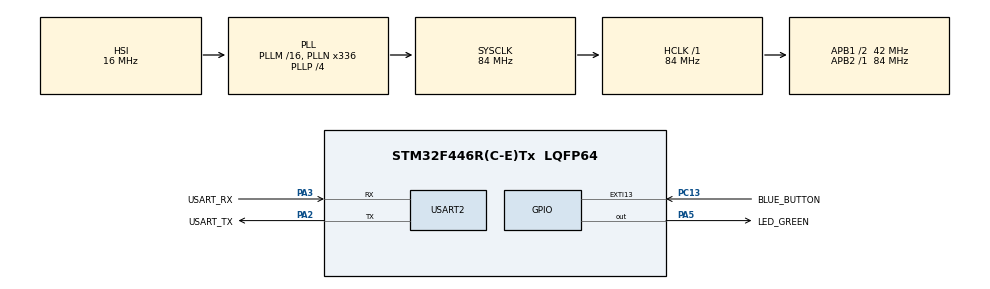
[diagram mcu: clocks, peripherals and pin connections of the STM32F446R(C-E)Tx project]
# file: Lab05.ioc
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FREERTOS.Queues01=abcQueue01,16,uint16_t,0,Dynamic,NULL,NULL
FREERTOS.Tasks01=ProducerTask,24,256,StartProducerTask,Default,NULL,Dynamic,NULL,NULL;ConsumerTask,24,128,StartConsumerTask,Default,NULL,Dynamic,NULL,NULL;LedTask,24,128,StartLedTask,Default,NULL,Dynamic,NULL,NULL
FREERTOS.Timers01=myTimer01,Callback01,osTimerPeriodic,Default,NULL,Dynamic,NULL
FREERTOS.configUSE_NEWLIB_REENTRANT=1
Mcu.Family=STM32F4
Mcu.Name=STM32F446R(C-E)Tx
Mcu.Package=LQFP64
NVIC.EXTI15_10_IRQn=true\:5\:0\:false\:false\:true\:true\:true\:true\:true
NVIC.PriorityGroup=NVIC_PRIORITYGROUP_4
NVIC.TIM5_IRQn=true\:15\:0\:false\:false\:true\:false\:false\:true\:true
NVIC.TimeBase=TIM5_IRQn
NVIC.TimeBaseIP=TIM5
PA13.GPIO_Label=SYS_JTMS-SWDIO
PA13.Mode=Trace_Asynchronous_SW
PA13.Signal=SYS_JTMS-SWDIO
PA14.GPIO_Label=SYS_JTCK-SWCLK
PA14.Mode=Trace_Asynchronous_SW
PA14.Signal=SYS_JTCK-SWCLK
PA2.GPIO_Label=USART_TX
PA2.Mode=Asynchronous
PA2.Signal=USART2_TX
PA3.GPIO_Label=USART_RX
PA3.Mode=Asynchronous
PA3.Signal=USART2_RX
PA5.GPIO_Label=LED_GREEN
PA5.Signal=GPIO_Output
PB3.GPIO_Label=SYS_JTDO-SWO
PB3.Mode=Trace_Asynchronous_SW
PB3.Signal=SYS_JTDO-SWO
PC13.GPIO_Label=BLUE_BUTTON
PC13.GPIO_ModeDefaultEXTI=GPIO_MODE_IT_FALLING
PC13.Signal=GPXTI13
ProjectManager.HeapSize=0x200
ProjectManager.StackSize=0x400
ProjectManager.TargetToolchain=STM32CubeIDE
RCC.48MHZClocksFreq_Value=84000000
RCC.AHBFreq_Value=84000000
RCC.APB1CLKDivider=RCC_HCLK_DIV2
RCC.APB1Freq_Value=42000000
RCC.APB1TimFreq_Value=84000000
RCC.APB2Freq_Value=84000000
RCC.APB2TimFreq_Value=84000000
RCC.CortexFreq_Value=84000000
RCC.FLatency-AdvancedSettings=FLASH_LATENCY_2
RCC.HCLKFreq_Value=84000000
RCC.HSE_VALUE=8000000
RCC.HSI_VALUE=16000000
RCC.PLLN=336
RCC.PLLP=RCC_PLLP_DIV4
RCC.SYSCLKFreq_VALUE=84000000
RCC.SYSCLKSource=RCC_SYSCLKSOURCE_PLLCLK
RCC.USBFreq_Value=168000000
RCC.VCOOutputFreq_Value=336000000
USART2.VirtualMode=VM_ASYNC
VP_FREERTOS_VS_CMSIS_V2.Mode=CMSIS_V2
VP_SYS_VS_tim5.Mode=TIM5
board=NUCLEO-F446RE

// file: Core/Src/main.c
/* USER CODE BEGIN Header */
/**
  ******************************************************************************
  * @file           : main.c
  * @brief          : Main program body
  ******************************************************************************
  * @attention
  *
  * Copyright (c) 2025 STMicroelectronics.
  * All rights reserved.
  *
  * This software is licensed under terms that can be found in the LICENSE file
  * in the root directory of this software component.
  * If no LICENSE file comes with this software, it is provided AS-IS.
  *
  ******************************************************************************
  */
/* USER CODE END Header */
#include "main.h"
#include "cmsis_os.h"

/* USER CODE BEGIN Includes */
#include <stdio.h>
/* USER CODE END Includes */

UART_HandleTypeDef huart2;

/* Definitions for ProducerTask */
osThreadId_t ProducerTaskHandle;
const osThreadAttr_t ProducerTask_attributes = {
  .name = "ProducerTask",
  .stack_size = 256 * 4,
  .priority = (osPriority_t) osPriorityNormal,
};
/* Definitions for ConsumerTask */
osThreadId_t ConsumerTaskHandle;
const osThreadAttr_t ConsumerTask_attributes = {
  .name = "ConsumerTask",
  .stack_size = 128 * 4,
  .priority = (osPriority_t) osPriorityNormal,
};
/* Definitions for LedTask */
osThreadId_t LedTaskHandle;
const osThreadAttr_t LedTask_attributes = {
  .name = "LedTask",
  .stack_size = 128 * 4,
  .priority = (osPriority_t) osPriorityNormal,
};
/* Definitions for abcQueue01 */
osMessageQueueId_t abcQueue01Handle;
const osMessageQueueAttr_t abcQueue01_attributes = {
  .name = "abcQueue01"
};
/* Definitions for myTimer01 */
osTimerId_t myTimer01Handle;
const osTimerAttr_t myTimer01_attributes = {
  .name = "myTimer01"
};
/* USER CODE BEGIN PV */
osEventFlagsId_t myEventFlags;
/* USER CODE END PV */

void SystemClock_Config(void);
static void MX_GPIO_Init(void);
static void MX_USART2_UART_Init(void);
void StartProducerTask(void *argument);
void StartConsumerTask(void *argument);
void StartLedTask(void *argument);
void Callback01(void *argument);

/* USER CODE BEGIN 0 */
int __io_putchar(int chr)
{
	ITM_SendChar(chr);
	return 1;
}
/* USER CODE END 0 */

int main(void)
{

  /* MCU Configuration--------------------------------------------------------*/

  /* Reset of all peripherals, Initializes the Flash interface and the Systick. */
  HAL_Init();

  /* Configure the system clock */
  SystemClock_Config();

  /* Initialize all configured peripherals */
  MX_GPIO_Init();
  MX_USART2_UART_Init();

  /* Init scheduler */
  osKernelInitialize();

  /* Create the timer(s) */
  /* creation of myTimer01 */
  myTimer01Handle = osTimerNew(Callback01, osTimerPeriodic, NULL, &myTimer01_attributes);

  /* Create the queue(s) */
  /* creation of abcQueue01 */
  abcQueue01Handle = osMessageQueueNew (16, sizeof(uint16_t), &abcQueue01_attributes);

  /* Create the thread(s) */
  /* creation of ProducerTask */
  ProducerTaskHandle = osThreadNew(StartProducerTask, NULL, &ProducerTask_attributes);

  /* creation of ConsumerTask */
  ConsumerTaskHandle = osThreadNew(StartConsumerTask, NULL, &ConsumerTask_attributes);

  /* creation of LedTask */
  LedTaskHandle = osThreadNew(StartLedTask, NULL, &LedTask_attributes);

  /* USER CODE BEGIN RTOS_THREADS */
  /* add threads, ... */
  myEventFlags = osEventFlagsNew(NULL);
  /* USER CODE END RTOS_THREADS */

  /* Start scheduler */
  osKernelStart();

  /* We should never get here as control is now taken by the scheduler */

  /* Infinite loop */
  while (1)
  {

  }
}

void SystemClock_Config(void)
{
  RCC_OscInitTypeDef RCC_OscInitStruct = {0};
  RCC_ClkInitTypeDef RCC_ClkInitStruct = {0};

  /** Configure the main internal regulator output voltage
  */
  __HAL_RCC_PWR_CLK_ENABLE();
  __HAL_PWR_VOLTAGESCALING_CONFIG(PWR_REGULATOR_VOLTAGE_SCALE3);

  /** Initializes the RCC Oscillators according to the specified parameters
  * in the RCC_OscInitTypeDef structure.
  */
  RCC_OscInitStruct.OscillatorType = RCC_OSCILLATORTYPE_HSI;
  RCC_OscInitStruct.HSIState = RCC_HSI_ON;
  RCC_OscInitStruct.HSICalibrationValue = RCC_HSICALIBRATION_DEFAULT;
  RCC_OscInitStruct.PLL.PLLState = RCC_PLL_ON;
  RCC_OscInitStruct.PLL.PLLSource = RCC_PLLSOURCE_HSI;
  RCC_OscInitStruct.PLL.PLLM = 16;
  RCC_OscInitStruct.PLL.PLLN = 336;
  RCC_OscInitStruct.PLL.PLLP = RCC_PLLP_DIV4;
  RCC_OscInitStruct.PLL.PLLQ = 2;
  RCC_OscInitStruct.PLL.PLLR = 2;
  if (HAL_RCC_OscConfig(&RCC_OscInitStruct) != HAL_OK)
  {
    Error_Handler();
  }

  /** Initializes the CPU, AHB and APB buses clocks
  */
  RCC_ClkInitStruct.ClockType = RCC_CLOCKTYPE_HCLK|RCC_CLOCKTYPE_SYSCLK
                              |RCC_CLOCKTYPE_PCLK1|RCC_CLOCKTYPE_PCLK2;
  RCC_ClkInitStruct.SYSCLKSource = RCC_SYSCLKSOURCE_PLLCLK;
  RCC_ClkInitStruct.AHBCLKDivider = RCC_SYSCLK_DIV1;
  RCC_ClkInitStruct.APB1CLKDivider = RCC_HCLK_DIV2;
  RCC_ClkInitStruct.APB2CLKDivider = RCC_HCLK_DIV1;

  if (HAL_RCC_ClockConfig(&RCC_ClkInitStruct, FLASH_LATENCY_2) != HAL_OK)
  {
    Error_Handler();
  }
}

static void MX_USART2_UART_Init(void)
{

  huart2.Instance = USART2;
  huart2.Init.BaudRate = 115200;
  huart2.Init.WordLength = UART_WORDLENGTH_8B;
  huart2.Init.StopBits = UART_STOPBITS_1;
  huart2.Init.Parity = UART_PARITY_NONE;
  huart2.Init.Mode = UART_MODE_TX_RX;
  huart2.Init.HwFlowCtl = UART_HWCONTROL_NONE;
  huart2.Init.OverSampling = UART_OVERSAMPLING_16;
  if (HAL_UART_Init(&huart2) != HAL_OK)
  {
    Error_Handler();
  }

}

static void MX_GPIO_Init(void)
{
  GPIO_InitTypeDef GPIO_InitStruct = {0};

  /* GPIO Ports Clock Enable */
  __HAL_RCC_GPIOC_CLK_ENABLE();
  __HAL_RCC_GPIOA_CLK_ENABLE();
  __HAL_RCC_GPIOB_CLK_ENABLE();

  /*Configure GPIO pin Output Level */
  HAL_GPIO_WritePin(LED_GREEN_GPIO_Port, LED_GREEN_Pin, GPIO_PIN_RESET);

  /*Configure GPIO pin : BLUE_BUTTON_Pin */
  GPIO_InitStruct.Pin = BLUE_BUTTON_Pin;
  GPIO_InitStruct.Mode = GPIO_MODE_IT_FALLING;
  GPIO_InitStruct.Pull = GPIO_NOPULL;
  HAL_GPIO_Init(BLUE_BUTTON_GPIO_Port, &GPIO_InitStruct);

  /*Configure GPIO pin : LED_GREEN_Pin */
  GPIO_InitStruct.Pin = LED_GREEN_Pin;
  GPIO_InitStruct.Mode = GPIO_MODE_OUTPUT_PP;
  GPIO_InitStruct.Pull = GPIO_NOPULL;
  GPIO_InitStruct.Speed = GPIO_SPEED_FREQ_LOW;
  HAL_GPIO_Init(LED_GREEN_GPIO_Port, &GPIO_InitStruct);

  /* EXTI interrupt init*/
  HAL_NVIC_SetPriority(EXTI15_10_IRQn, 5, 0);
  HAL_NVIC_EnableIRQ(EXTI15_10_IRQn);

}

void StartProducerTask(void *argument)
{
  /* USER CODE BEGIN 5 */
	  uint16_t value =0;
	  osStatus_t statusSender =0;
	  /* Infinite loop */
	  for(;;)
	  {
		printf("ProducerTask Start\r\n");
		printf("Sending: %d \r\n", value);
		statusSender = osMessageQueuePut(abcQueue01Handle, &value, 0, osWaitForever);
		if(++value > 20)
		{
			value = 0;
		}
		printf("statusSender: %d \r\n", statusSender);
	    osDelay(1000);
	  }
  /* USER CODE END 5 */
}

void StartConsumerTask(void *argument)
{
  /* USER CODE BEGIN StartConsumerTask */
	  uint16_t valueRec = 0;
	  osStatus_t statusReceiver = 0;
	  /* Infinite loop */
	  for(;;)
	  {
		  statusReceiver = osMessageQueueGet(abcQueue01Handle, &valueRec, NULL, osWaitForever);
		printf("Received value: %d \r\n", valueRec);
	    osDelay(1000);
	  }
  /* USER CODE END StartConsumerTask */
}

void StartLedTask(void *argument)
{
  /* USER CODE BEGIN StartLedTask */
  /* Infinite loop */
	  for(;;)
	  {
		  osEventFlagsWait(myEventFlags, 0x1, osFlagsWaitAll, osWaitForever);
		  for(int i = 0; i<10; i++)
		  {
			  HAL_GPIO_TogglePin(LED_GREEN_GPIO_Port, LED_GREEN_Pin);
			  HAL_Delay(50);
		  }
	    osDelay(1000);
	  }
  /* USER CODE END StartLedTask */
}

/* Callback01 function */
void Callback01(void *argument)
{
}

void HAL_TIM_PeriodElapsedCallback(TIM_HandleTypeDef *htim)
{
  if (htim->Instance == TIM5)
  {
    HAL_IncTick();
  }
}

void Error_Handler(void)
{
  __disable_irq();
  while (1)
  {
  }
}
